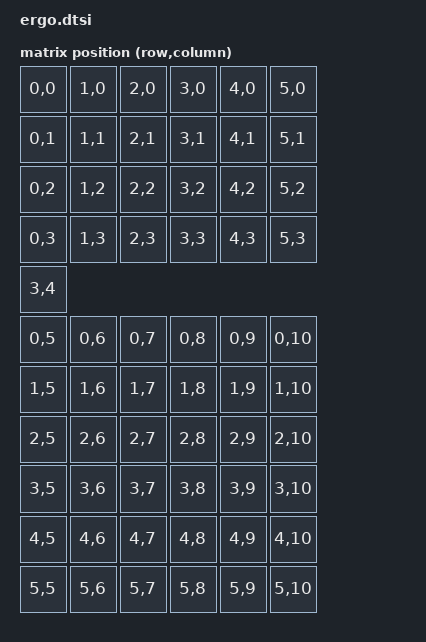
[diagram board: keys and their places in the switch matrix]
/*
 * Shared definitions for both halves of the Ergo split.
 *
 * Combined matrix transform for the whole keyboard:
 *   - Left half  -> logical columns 0..4  (peripheral, col-offset 0)
 *   - Right half -> logical columns 5..10 (central,   col-offset 5)
 *
 * The left part of the map below is column-major (one visual row per
 * matrix column) exactly as the original left half was wired. The right
 * part is row-major. Each half keeps its own electrical layout; the
 * col-offset is what stitches them into one logical keymap.
 */

#include <dt-bindings/zmk/matrix_transform.h>
#include <dt-bindings/zmk/input_transform.h>
#include <zephyr/dt-bindings/input/input-event-codes.h>
#include "ergo-layouts.dtsi"

&pinctrl {
    i2c0_default: i2c0_default {
        group1 {
            psels = <NRF_PSEL(TWIM_SDA, 0, 4)>,
                    <NRF_PSEL(TWIM_SCL, 0, 5)>;
        };
    };

    i2c0_sleep: i2c0_sleep {
        group1 {
            psels = <NRF_PSEL(TWIM_SDA, 0, 4)>,
                    <NRF_PSEL(TWIM_SCL, 0, 5)>;
            low-power-enable;
        };
    };
};

&i2c0 {
    status = "okay";
    clock-frequency = <I2C_BITRATE_FAST>; /* CRITICAL: prevents severe input lag */
    pinctrl-0 = <&i2c0_default>;
    pinctrl-1 = <&i2c0_sleep>;
    pinctrl-names = "default", "sleep";
};

/ {
    chosen {
        /*
         * ZMK Studio requires a chosen zmk,physical-layout (and NO chosen
         * zmk,matrix-transform). The transform is attached to the layout
         * below instead; the layout's `keys` live in ergo-layouts.dtsi.
         */
        zmk,physical-layout = &ergo_physical_layout;
    };

    default_transform: keymap_transform_0 {
        compatible = "zmk,matrix-transform";
        columns = <11>;
        rows = <6>;
        map = <
            /* ---- LEFT half: logical columns 0..4 (column-major) ---- */
            RC(0,0) RC(1,0) RC(2,0) RC(3,0) RC(4,0) RC(5,0)
            RC(0,1) RC(1,1) RC(2,1) RC(3,1) RC(4,1) RC(5,1)
            RC(0,2) RC(1,2) RC(2,2) RC(3,2) RC(4,2) RC(5,2)
            RC(0,3) RC(1,3) RC(2,3) RC(3,3) RC(4,3) RC(5,3)
            RC(3,4)

            /* ---- RIGHT half: logical columns 5..10 (row-major) ---- */
            RC(0,5) RC(0,6) RC(0,7) RC(0,8) RC(0,9) RC(0,10)
            RC(1,5) RC(1,6) RC(1,7) RC(1,8) RC(1,9) RC(1,10)
            RC(2,5) RC(2,6) RC(2,7) RC(2,8) RC(2,9) RC(2,10)
            RC(3,5) RC(3,6) RC(3,7) RC(3,8) RC(3,9) RC(3,10)
            RC(4,5) RC(4,6) RC(4,7) RC(4,8) RC(4,9) RC(4,10)
            RC(5,5) RC(5,6) RC(5,7) RC(5,8) RC(5,9) RC(5,10)
        >;
    };
};

/*
 * Give the Studio physical layout (defined in ergo-layouts.dtsi) its matrix
 * transform. kscan is intentionally left to each half's `chosen zmk,kscan`
 * (set per-overlay), since the two halves scan different pins. The right
 * overlay still applies `col-offset = <5>` to &default_transform as before.
 */
&ergo_physical_layout {
    transform = <&default_transform>;
};

/* Shared trackpad split-relay nodes (input-split, transforms, listener). */
#include "ergo-trackpad.dtsi"

/* Shared encoder nodes (encoder0 device + keymap-sensors). */
#include "ergo-encoder.dtsi"
